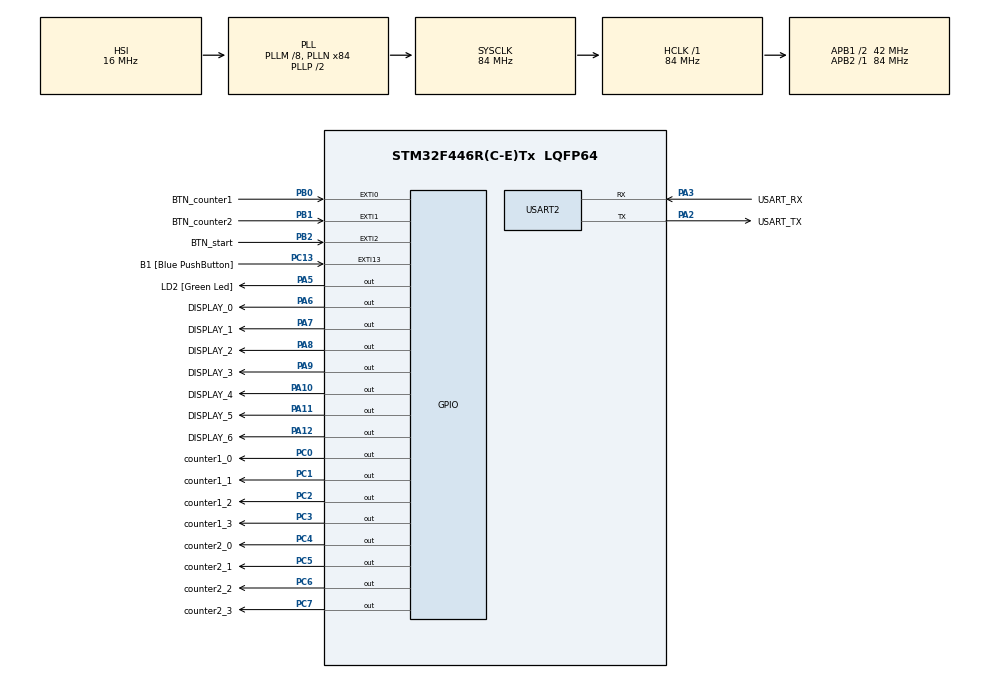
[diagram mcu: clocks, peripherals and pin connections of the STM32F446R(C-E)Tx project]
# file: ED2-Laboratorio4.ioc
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Mcu.Family=STM32F4
Mcu.Name=STM32F446R(C-E)Tx
Mcu.Package=LQFP64
NVIC.EXTI0_IRQn=true\:0\:0\:false\:false\:true\:true\:true\:true
NVIC.EXTI1_IRQn=true\:0\:0\:false\:false\:true\:true\:true\:true
NVIC.EXTI2_IRQn=true\:0\:0\:false\:false\:true\:true\:true\:true
NVIC.PriorityGroup=NVIC_PRIORITYGROUP_0
NVIC.TIM2_IRQn=true\:0\:0\:false\:false\:true\:true\:true\:true
PA10.GPIO_Label=DISPLAY_4
PA10.Signal=GPIO_Output
PA11.GPIO_Label=DISPLAY_5
PA11.Signal=GPIO_Output
PA12.GPIO_Label=DISPLAY_6
PA12.Signal=GPIO_Output
PA13.GPIO_Label=TMS
PA13.Mode=Serial_Wire
PA13.Signal=SYS_JTMS-SWDIO
PA14.GPIO_Label=TCK
PA14.Mode=Serial_Wire
PA14.Signal=SYS_JTCK-SWCLK
PA2.GPIO_Label=USART_TX
PA2.Mode=Asynchronous
PA2.Signal=USART2_TX
PA3.GPIO_Label=USART_RX
PA3.Mode=Asynchronous
PA3.Signal=USART2_RX
PA5.GPIO_Label=LD2 [Green Led]
PA5.Signal=GPIO_Output
PA6.GPIO_Label=DISPLAY_0
PA6.Signal=GPIO_Output
PA7.GPIO_Label=DISPLAY_1
PA7.Signal=GPIO_Output
PA8.GPIO_Label=DISPLAY_2
PA8.Signal=GPIO_Output
PA9.GPIO_Label=DISPLAY_3
PA9.Signal=GPIO_Output
PB0.GPIO_Label=BTN_counter1
PB0.GPIO_ModeDefaultEXTI=GPIO_MODE_IT_FALLING
PB0.GPIO_PuPd=GPIO_PULLUP
PB0.Signal=GPXTI0
PB1.GPIO_Label=BTN_counter2
PB1.GPIO_ModeDefaultEXTI=GPIO_MODE_IT_FALLING
PB1.GPIO_PuPd=GPIO_PULLUP
PB1.Signal=GPXTI1
PB2.GPIO_Label=BTN_start
PB2.GPIO_ModeDefaultEXTI=GPIO_MODE_IT_FALLING
PB2.GPIO_PuPd=GPIO_PULLUP
PB2.Signal=GPXTI2
PB3.GPIO_Label=SWO
PB3.Signal=SYS_JTDO-SWO
PC0.GPIO_Label=counter1_0
PC0.Signal=GPIO_Output
PC1.GPIO_Label=counter1_1
PC1.Signal=GPIO_Output
PC13.GPIO_Label=B1 [Blue PushButton]
PC13.GPIO_ModeDefaultEXTI=GPIO_MODE_IT_FALLING
PC13.Signal=GPXTI13
PC14-OSC32_IN.Mode=LSE-External-Oscillator
PC14-OSC32_IN.Signal=RCC_OSC32_IN
PC15-OSC32_OUT.Mode=LSE-External-Oscillator
PC15-OSC32_OUT.Signal=RCC_OSC32_OUT
PC2.GPIO_Label=counter1_2
PC2.Signal=GPIO_Output
PC3.GPIO_Label=counter1_3
PC3.Signal=GPIO_Output
PC4.GPIO_Label=counter2_0
PC4.Signal=GPIO_Output
PC5.GPIO_Label=counter2_1
PC5.Signal=GPIO_Output
PC6.GPIO_Label=counter2_2
PC6.Signal=GPIO_Output
PC7.GPIO_Label=counter2_3
PC7.Signal=GPIO_Output
PH0-OSC_IN.Mode=HSE-External-Oscillator
PH0-OSC_IN.Signal=RCC_OSC_IN
PH1-OSC_OUT.Mode=HSE-External-Oscillator
PH1-OSC_OUT.Signal=RCC_OSC_OUT
ProjectManager.HeapSize=0x200
ProjectManager.StackSize=0x400
ProjectManager.TargetToolchain=STM32CubeIDE
RCC.48MHZClocksFreq_Value=84000000
RCC.AHBFreq_Value=84000000
RCC.APB1CLKDivider=RCC_HCLK_DIV2
RCC.APB1Freq_Value=42000000
RCC.APB1TimFreq_Value=84000000
RCC.APB2Freq_Value=84000000
RCC.APB2TimFreq_Value=84000000
RCC.CortexFreq_Value=84000000
RCC.FLatency-AdvancedSettings=FLASH_LATENCY_2
RCC.HCLKFreq_Value=84000000
RCC.HSE_VALUE=8000000
RCC.HSI_VALUE=16000000
RCC.PLLM=8
RCC.PLLN=84
RCC.SYSCLKFreq_VALUE=84000000
RCC.SYSCLKSource=RCC_SYSCLKSOURCE_PLLCLK
RCC.USBFreq_Value=84000000
RCC.VCOOutputFreq_Value=168000000
TIM2.Period=5000-1
TIM2.Prescaler=8400-1
USART2.VirtualMode=VM_ASYNC
VP_TIM2_VS_ClockSourceINT.Mode=Internal
board=NUCLEO-F446RE

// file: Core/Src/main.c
/* USER CODE BEGIN Header */
/**
  ******************************************************************************
  * @file           : main.c
  * @brief          : Main program body
  ******************************************************************************
  * @attention
  *
  * Copyright (c) 2026 STMicroelectronics.
  * All rights reserved.
  *
  * This software is licensed under terms that can be found in the LICENSE file
  * in the root directory of this software component.
  * If no LICENSE file comes with this software, it is provided AS-IS.
  *******************************************************************************
  * Universidad del Valle de Guatemala
  * IE3054: Electrónica Digital 2
  * Laboratorio 4
  * Autor: Alma Lisbeth Mata Ixcayau
  * Proyecto: Laboratorio 4 - Juego de carreras 2.0
  * Descripcion: Juego de carreras con LEDs y contador display 7 segmentos
  * Creado: 03/03/2026
  *
  ******************************************************************************
  */
/* USER CODE END Header */
#include "main.h"

/* USER CODE BEGIN Includes */
#include "stdint.h"
/* USER CODE END Includes */

TIM_HandleTypeDef htim2;

UART_HandleTypeDef huart2;

/* USER CODE BEGIN PV */
volatile uint8_t jugador1 = 0;
volatile uint8_t jugador2 = 0;
volatile uint8_t winner = 3;
volatile uint8_t display7seg = 0;
volatile uint8_t carrera_start = 0;
volatile int8_t countdown = 5;

uint8_t Tabla7seg[] = {0x40, 0x79, 0x24, 0x30, 0x19, 0x12, 0x02, 0x78, 0x00, 0x10, 0x08, 0x03, 0x46, 0x21, 0x06, 0x0E};

/* USER CODE END PV */

void SystemClock_Config(void);
static void MX_GPIO_Init(void);
static void MX_USART2_UART_Init(void);
static void MX_TIM2_Init(void);
/* USER CODE BEGIN PFP */
void HAL_GPIO_EXTI_Callback(uint16_t GPIO_Pin);
void HAL_TIM_PeriodElapsedCallback(TIM_HandleTypeDef *htim);
/* USER CODE END PFP */

int main(void)
{

  /* MCU Configuration--------------------------------------------------------*/

  /* Reset of all peripherals, Initializes the Flash interface and the Systick. */
  HAL_Init();

  /* Configure the system clock */
  SystemClock_Config();

  /* Initialize all configured peripherals */
  MX_GPIO_Init();
  MX_USART2_UART_Init();
  MX_TIM2_Init();

  /* Infinite loop */
  /* USER CODE BEGIN WHILE */
  while (1)
  {
	  uint8_t j1 = jugador1;
	  uint8_t j2 = jugador2;

	  if (winner == 1)
	  {
	  	j1 = 0x0F;
	  	j2 = 0x00;
	  }
	  else if (winner == 2)
	  {
	  	j1 = 0x00;
	  	j2 = 0x0F;
	  }
	  if (carrera_start == 2){
		  display7seg = Tabla7seg[winner];
	  }
	  else {
		  display7seg = Tabla7seg[countdown];
	  }

	  GPIOC->ODR = (GPIOC->ODR & ~0xFF) | ((j2 << 4) | j1);
	  GPIOA->ODR = (GPIOA->ODR & ~(0x7F << 6)) | (display7seg << 6);
    /* USER CODE END WHILE */

  }
}

void SystemClock_Config(void)
{
  RCC_OscInitTypeDef RCC_OscInitStruct = {0};
  RCC_ClkInitTypeDef RCC_ClkInitStruct = {0};

  /** Configure the main internal regulator output voltage
  */
  __HAL_RCC_PWR_CLK_ENABLE();
  __HAL_PWR_VOLTAGESCALING_CONFIG(PWR_REGULATOR_VOLTAGE_SCALE3);

  /** Initializes the RCC Oscillators according to the specified parameters
  * in the RCC_OscInitTypeDef structure.
  */
  RCC_OscInitStruct.OscillatorType = RCC_OSCILLATORTYPE_HSI;
  RCC_OscInitStruct.HSIState = RCC_HSI_ON;
  RCC_OscInitStruct.HSICalibrationValue = RCC_HSICALIBRATION_DEFAULT;
  RCC_OscInitStruct.PLL.PLLState = RCC_PLL_ON;
  RCC_OscInitStruct.PLL.PLLSource = RCC_PLLSOURCE_HSI;
  RCC_OscInitStruct.PLL.PLLM = 8;
  RCC_OscInitStruct.PLL.PLLN = 84;
  RCC_OscInitStruct.PLL.PLLP = RCC_PLLP_DIV2;
  RCC_OscInitStruct.PLL.PLLQ = 2;
  RCC_OscInitStruct.PLL.PLLR = 2;
  if (HAL_RCC_OscConfig(&RCC_OscInitStruct) != HAL_OK)
  {
    Error_Handler();
  }

  /** Initializes the CPU, AHB and APB buses clocks
  */
  RCC_ClkInitStruct.ClockType = RCC_CLOCKTYPE_HCLK|RCC_CLOCKTYPE_SYSCLK
                              |RCC_CLOCKTYPE_PCLK1|RCC_CLOCKTYPE_PCLK2;
  RCC_ClkInitStruct.SYSCLKSource = RCC_SYSCLKSOURCE_PLLCLK;
  RCC_ClkInitStruct.AHBCLKDivider = RCC_SYSCLK_DIV1;
  RCC_ClkInitStruct.APB1CLKDivider = RCC_HCLK_DIV2;
  RCC_ClkInitStruct.APB2CLKDivider = RCC_HCLK_DIV1;

  if (HAL_RCC_ClockConfig(&RCC_ClkInitStruct, FLASH_LATENCY_2) != HAL_OK)
  {
    Error_Handler();
  }
}

static void MX_TIM2_Init(void)
{

  TIM_ClockConfigTypeDef sClockSourceConfig = {0};
  TIM_MasterConfigTypeDef sMasterConfig = {0};

  htim2.Instance = TIM2;
  htim2.Init.Prescaler = 8400-1;
  htim2.Init.CounterMode = TIM_COUNTERMODE_UP;
  htim2.Init.Period = 10000-1;
  htim2.Init.ClockDivision = TIM_CLOCKDIVISION_DIV1;
  htim2.Init.AutoReloadPreload = TIM_AUTORELOAD_PRELOAD_DISABLE;
  if (HAL_TIM_Base_Init(&htim2) != HAL_OK)
  {
    Error_Handler();
  }
  sClockSourceConfig.ClockSource = TIM_CLOCKSOURCE_INTERNAL;
  if (HAL_TIM_ConfigClockSource(&htim2, &sClockSourceConfig) != HAL_OK)
  {
    Error_Handler();
  }
  sMasterConfig.MasterOutputTrigger = TIM_TRGO_RESET;
  sMasterConfig.MasterSlaveMode = TIM_MASTERSLAVEMODE_DISABLE;
  if (HAL_TIMEx_MasterConfigSynchronization(&htim2, &sMasterConfig) != HAL_OK)
  {
    Error_Handler();
  }

}

static void MX_USART2_UART_Init(void)
{

  huart2.Instance = USART2;
  huart2.Init.BaudRate = 115200;
  huart2.Init.WordLength = UART_WORDLENGTH_8B;
  huart2.Init.StopBits = UART_STOPBITS_1;
  huart2.Init.Parity = UART_PARITY_NONE;
  huart2.Init.Mode = UART_MODE_TX_RX;
  huart2.Init.HwFlowCtl = UART_HWCONTROL_NONE;
  huart2.Init.OverSampling = UART_OVERSAMPLING_16;
  if (HAL_UART_Init(&huart2) != HAL_OK)
  {
    Error_Handler();
  }

}

static void MX_GPIO_Init(void)
{
  GPIO_InitTypeDef GPIO_InitStruct = {0};

  /* GPIO Ports Clock Enable */
  __HAL_RCC_GPIOC_CLK_ENABLE();
  __HAL_RCC_GPIOH_CLK_ENABLE();
  __HAL_RCC_GPIOA_CLK_ENABLE();
  __HAL_RCC_GPIOB_CLK_ENABLE();

  /*Configure GPIO pin Output Level */
  HAL_GPIO_WritePin(GPIOC, counter1_0_Pin|counter1_1_Pin|counter1_2_Pin|counter1_3_Pin
                          |counter2_0_Pin|counter2_1_Pin|counter2_2_Pin|counter2_3_Pin, GPIO_PIN_RESET);

  /*Configure GPIO pin Output Level */
  HAL_GPIO_WritePin(GPIOA, LD2_Pin|DISPLAY_0_Pin|DISPLAY_1_Pin|DISPLAY_2_Pin
                          |DISPLAY_3_Pin|DISPLAY_4_Pin|DISPLAY_5_Pin|DISPLAY_6_Pin, GPIO_PIN_RESET);

  /*Configure GPIO pin : B1_Pin */
  GPIO_InitStruct.Pin = B1_Pin;
  GPIO_InitStruct.Mode = GPIO_MODE_IT_FALLING;
  GPIO_InitStruct.Pull = GPIO_NOPULL;
  HAL_GPIO_Init(B1_GPIO_Port, &GPIO_InitStruct);

  /*Configure GPIO pins : counter1_0_Pin counter1_1_Pin counter1_2_Pin counter1_3_Pin
                           counter2_0_Pin counter2_1_Pin counter2_2_Pin counter2_3_Pin */
  GPIO_InitStruct.Pin = counter1_0_Pin|counter1_1_Pin|counter1_2_Pin|counter1_3_Pin
                          |counter2_0_Pin|counter2_1_Pin|counter2_2_Pin|counter2_3_Pin;
  GPIO_InitStruct.Mode = GPIO_MODE_OUTPUT_PP;
  GPIO_InitStruct.Pull = GPIO_NOPULL;
  GPIO_InitStruct.Speed = GPIO_SPEED_FREQ_LOW;
  HAL_GPIO_Init(GPIOC, &GPIO_InitStruct);

  /*Configure GPIO pins : LD2_Pin DISPLAY_0_Pin DISPLAY_1_Pin DISPLAY_2_Pin
                           DISPLAY_3_Pin DISPLAY_4_Pin DISPLAY_5_Pin DISPLAY_6_Pin */
  GPIO_InitStruct.Pin = LD2_Pin|DISPLAY_0_Pin|DISPLAY_1_Pin|DISPLAY_2_Pin
                          |DISPLAY_3_Pin|DISPLAY_4_Pin|DISPLAY_5_Pin|DISPLAY_6_Pin;
  GPIO_InitStruct.Mode = GPIO_MODE_OUTPUT_PP;
  GPIO_InitStruct.Pull = GPIO_NOPULL;
  GPIO_InitStruct.Speed = GPIO_SPEED_FREQ_LOW;
  HAL_GPIO_Init(GPIOA, &GPIO_InitStruct);

  /*Configure GPIO pins : BTN_counter1_Pin BTN_counter2_Pin BTN_start_Pin */
  GPIO_InitStruct.Pin = BTN_counter1_Pin|BTN_counter2_Pin|BTN_start_Pin;
  GPIO_InitStruct.Mode = GPIO_MODE_IT_FALLING;
  GPIO_InitStruct.Pull = GPIO_PULLUP;
  HAL_GPIO_Init(GPIOB, &GPIO_InitStruct);

  /* EXTI interrupt init*/
  HAL_NVIC_SetPriority(EXTI0_IRQn, 0, 0);
  HAL_NVIC_EnableIRQ(EXTI0_IRQn);

  HAL_NVIC_SetPriority(EXTI1_IRQn, 0, 0);
  HAL_NVIC_EnableIRQ(EXTI1_IRQn);

  HAL_NVIC_SetPriority(EXTI2_IRQn, 0, 0);
  HAL_NVIC_EnableIRQ(EXTI2_IRQn);

}

/* USER CODE BEGIN 4 */

void HAL_GPIO_EXTI_Callback(uint16_t GPIO_Pin){

	if (carrera_start != 2 && GPIO_Pin != BTN_start_Pin)
			return;
	if (GPIO_Pin == BTN_counter1_Pin && winner == 0){
		if (jugador1 == 0)		// Si el contador es 0
		{
			jugador1 = 0x01;	// Inicializarlo con 1
		}
		else{					// De lo contrario
			jugador1 = ((jugador1 << 1) & 0x0F);	// Correr los bits 1 posición
			if (jugador1 == 0x08)	// Si es 0b1000
			{
				winner = 1;			// Declararlo como ganador
			}
		}
	}
	else if (GPIO_Pin == BTN_counter2_Pin && winner == 0){
		if (jugador2 == 0)		// Si el contador es 0
		{
			jugador2 = 0x01;	// Inicializarlo con 1
		}
		else{					// De lo contrario
			jugador2 = ((jugador2 << 1) & 0x0F);	// Correr los bits 1 posición
			if (jugador2 == 0x08)	// Si es 0b1000
			{
				winner = 2;			// Declararlo como ganador
			}
		}
	}
	else if (GPIO_Pin == BTN_start_Pin && winner != 0){
		winner = 0;
		jugador1 = 0;
		jugador2 = 0;

		countdown = 5;
		carrera_start = 1;  // Inicia cuenta regresiva

		HAL_TIM_Base_Start_IT(&htim2);  // Se activa interrupcion del timer2
	}
}

void HAL_TIM_PeriodElapsedCallback(TIM_HandleTypeDef *htim){
	if(htim->Instance == TIM2){
		if(carrera_start == 1)
		{
			if(countdown == 0){
				carrera_start = 2;
				HAL_TIM_Base_Stop_IT(&htim2);
			}
			else{
				countdown--;
			}
		}
	}
}
/* USER CODE END 4 */

void Error_Handler(void)
{
  __disable_irq();
  while (1)
  {
  }
}
